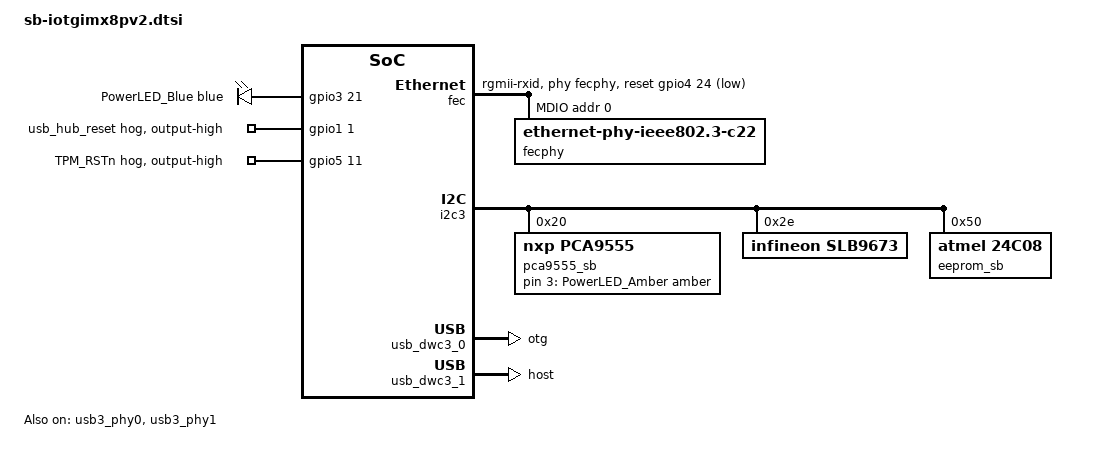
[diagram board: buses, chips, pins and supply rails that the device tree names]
// SPDX-License-Identifier: (GPL-2.0+ OR MIT)
/*
 * Copyright 2026 CompuLab
 */

#include <dt-bindings/leds/common.h>

/ {
	chosen {
		bootargs = "console=ttymxc1,115200 earlycon=ec_imx6q,0x30890000,115200 console=tty0";
		stdout-path = &uart2;
	};

	leds {
		/*pinctrl-0 = <&pinctrl_gpio_led>, <&pinctrl_user_leds>;*/

		pled_abmer: power-led-abmer {
			label = "PowerLED_Amber";
			color = <LED_COLOR_ID_AMBER>;
			gpios = <&pca9555_sb 3 GPIO_ACTIVE_HIGH>;
			default-state = "off";
		};
		pled_blue: power-led-blue {
			pinctrl-names = "default";
			pinctrl-0 = <&pinctrl_user_leds>;
			label = "PowerLED_Blue";
			color = <LED_COLOR_ID_BLUE>;
			gpios = <&gpio3 21 GPIO_ACTIVE_HIGH>;
			default-state = "on";
		};
	};
};

&fec {
	pinctrl-names = "default";
	pinctrl-0 = <&pinctrl_fec>, <&pinctrl_fec_phy_reset>;
	phy-mode = "rgmii-rxid";
	phy-handle = <&fecphy>;
	fsl,magic-packet;
	reset-gpios = <&gpio4 24 GPIO_ACTIVE_LOW>;
	reset-assert-us = <15000>;
	reset-deassert-us = <100000>;
	status = "okay";

	mdio {
		compatible = "snps,dwmac-mdio";
		#address-cells = <1>;
		#size-cells = <0>;

		fecphy: fec-phy@0 {
			compatible = "ethernet-phy-ieee802.3-c22";
			reg = <0>;
			eee-broken-1000t;
			realtek,clkout-disable;
		};
	};
};

&gpio1 {
	usb_hub_reset: usb-hub-reset {
		pinctrl-names = "default";
		pinctrl-0 = <&pinctrl_usb_hub_rst>;
		gpio-hog;
		gpios = <1 GPIO_ACTIVE_HIGH>;
		line-name = "usb_hub_reset";
		output-high;
	};
};

&gpio5 {
	tpm_nreset {
		pinctrl-names = "default";
		pinctrl-0 = <&pinctrl_tpm_reset>;
		gpio-hog;
		gpios = <11 GPIO_ACTIVE_HIGH>;
		line-name = "TPM_RSTn";
		output-high;
	};
};

&i2c3 {
	status = "okay";

	pca9555_sb: pca9555-sb@20 {
		compatible = "nxp,pca9555";
		gpio-controller;
		#gpio-cells = <2>;
		reg = <0x20>;

		gpio-line-names =
			"USB_PWR_EN", "GPIO_LED_R", "GPIO_LED_G", "GPIO_LED_OR",
			"GPIO_OUT0", "GPIO_OUT1", "GPIO_OUT2", "GPIO_OUT3",
			"POE_ASSEM_IND", "POE_PRESENCE", "MODEM_RF_KILLn", "MODEM_RSTn",
			"CSI1_CTRL", "CSI1_RST", "CSI1_PWR_DWN", "EN_5V_ISO1";
	};

	slb9673: slb9673-i2c3@2e {
		compatible = "infineon,slb9673", "tcg,tpm-tis-i2c";
		reg = <0x2e>;
	};

	eeprom_sb: eeprom-sb@50 {
		compatible = "atmel,24c08";
		reg = <0x50>;
		pagesize = <16>;
	};
};

&usb3_phy0 {
	status = "okay";
};

&usb_dwc3_0 {
	dr_mode = "otg";
	hnp-disable;
	srp-disable;
	adp-disable;
	usb-role-switch;
	status = "okay";
};

&usb3_phy1 {
	status = "okay";
};

&usb_dwc3_1 {
	dr_mode = "host";
	status = "okay";
};

&cpu_alert0 {
    temperature = <90000>;
};

&cpu_crit0 {
    temperature = <100000>;
};

&soc_alert0 {
    temperature = <90000>;
};

&soc_crit0 {
    temperature = <100000>;
};

&iomuxc {
	pinctrl_fec: fecgrp {
		fsl,pins = <
			MX8MP_IOMUXC_SD1_CLK__ENET1_MDC				0x2
			MX8MP_IOMUXC_SD1_CMD__ENET1_MDIO			0x2
			MX8MP_IOMUXC_SD1_DATA2__ENET1_RGMII_RD0			0x90
			MX8MP_IOMUXC_SD1_DATA3__ENET1_RGMII_RD1			0x90
			MX8MP_IOMUXC_SAI1_RXD6__ENET1_RGMII_RD2			0x90
			MX8MP_IOMUXC_SAI1_RXD7__ENET1_RGMII_RD3			0x90
			MX8MP_IOMUXC_SAI1_TXC__ENET1_RGMII_RXC			0x00
			MX8MP_IOMUXC_SAI1_TXFS__ENET1_RGMII_RX_CTL		0x90
			MX8MP_IOMUXC_SD1_DATA1__ENET1_RGMII_TD0			0x14
			MX8MP_IOMUXC_SD1_DATA0__ENET1_RGMII_TD1			0x14
			MX8MP_IOMUXC_SAI1_TXD2__ENET1_RGMII_TD2			0x14
			MX8MP_IOMUXC_SAI1_TXD3__ENET1_RGMII_TD3			0x14
			MX8MP_IOMUXC_SAI1_TXD4__ENET1_RGMII_TX_CTL		0x14
			MX8MP_IOMUXC_SAI1_TXD5__ENET1_RGMII_TXC			0x00
		>;
	};

	pinctrl_fec_phy_reset: fecphyrstgrp {
		fsl,pins = <
			MX8MP_IOMUXC_SAI2_TXFS__GPIO4_IO24			0x10
		>;
	};

	pinctrl_tpm_reset: tpmrstgrp {
		fsl,pins = <
			MX8MP_IOMUXC_ECSPI2_MOSI__GPIO5_IO11			0x110
		>;
	};

	pinctrl_uart2: uart2grp {
		fsl,pins = <
			MX8MP_IOMUXC_SAI3_TXFS__UART2_DCE_RX			0x140
			MX8MP_IOMUXC_SAI3_TXC__UART2_DCE_TX			0x140
		>;
	};

	pinctrl_usb_hub_rst: usbhubrstgrp {
		fsl,pins = <
			MX8MP_IOMUXC_GPIO1_IO01__GPIO1_IO01			0x100
		>;
	};

	pinctrl_user_leds: userledsgrp {
		fsl,pins = <
			MX8MP_IOMUXC_SAI5_RXD0__GPIO3_IO21			0x140
		>;
	};
};
